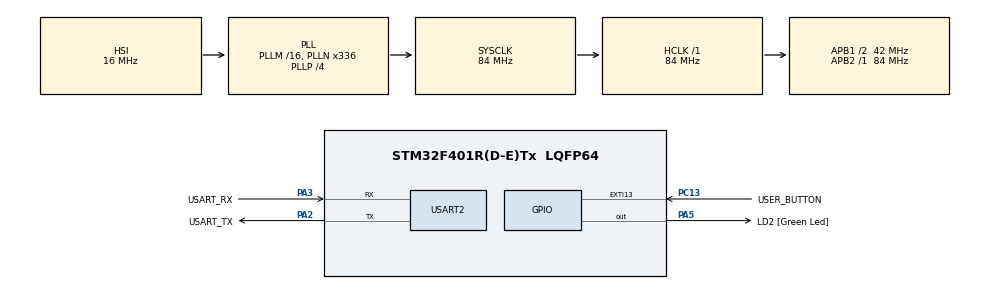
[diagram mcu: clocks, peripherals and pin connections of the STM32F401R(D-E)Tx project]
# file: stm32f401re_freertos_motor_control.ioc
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FREERTOS.Tasks01=defaultTask,0,128,StartDefaultTask,Default,NULL
Mcu.Family=STM32F4
Mcu.Name=STM32F401R(D-E)Tx
Mcu.Package=LQFP64
NVIC.EXTI15_10_IRQn=true\:5\:0\:false\:false\:true\:true\:true\:true
NVIC.PriorityGroup=NVIC_PRIORITYGROUP_4
NVIC.TIM4_IRQn=true\:0\:0\:false\:false\:true\:false\:false\:true
NVIC.TimeBase=TIM4_IRQn
NVIC.TimeBaseIP=TIM4
PA13.GPIO_Label=TMS
PA13.Mode=Serial_Wire
PA13.Signal=SYS_JTMS-SWDIO
PA14.GPIO_Label=TCK
PA14.Mode=Serial_Wire
PA14.Signal=SYS_JTCK-SWCLK
PA2.GPIO_Label=USART_TX
PA2.GPIO_Mode=GPIO_MODE_AF_PP
PA2.GPIO_PuPd=GPIO_NOPULL
PA2.GPIO_Speed=GPIO_SPEED_FREQ_LOW
PA2.Mode=Asynchronous
PA2.Signal=USART2_TX
PA3.GPIO_Label=USART_RX
PA3.GPIO_Mode=GPIO_MODE_AF_PP
PA3.GPIO_PuPd=GPIO_NOPULL
PA3.GPIO_Speed=GPIO_SPEED_FREQ_LOW
PA3.Mode=Asynchronous
PA3.Signal=USART2_RX
PA5.GPIO_Label=LD2 [Green Led]
PA5.GPIO_Mode=GPIO_MODE_OUTPUT_PP
PA5.GPIO_PuPd=GPIO_NOPULL
PA5.GPIO_Speed=GPIO_SPEED_FREQ_LOW
PA5.Signal=GPIO_Output
PB3.GPIO_Label=SWO
PB3.Signal=SYS_JTDO-SWO
PC13-ANTI_TAMP.GPIO_Label=USER_BUTTON
PC13-ANTI_TAMP.GPIO_PuPd=GPIO_NOPULL
PC13-ANTI_TAMP.Signal=GPXTI13
PC14-OSC32_IN.Mode=LSE-External-Oscillator
PC14-OSC32_IN.Signal=RCC_OSC32_IN
PC15-OSC32_OUT.Mode=LSE-External-Oscillator
PC15-OSC32_OUT.Signal=RCC_OSC32_OUT
PH0\ -\ OSC_IN.Mode=HSE-External-Clock-Source
PH0\ -\ OSC_IN.Signal=RCC_OSC_IN
PH1\ -\ OSC_OUT.Mode=HSE-External-Clock-Source
PH1\ -\ OSC_OUT.Signal=RCC_OSC_OUT
ProjectManager.HeapSize=0x200
ProjectManager.StackSize=0x400
ProjectManager.TargetToolchain=TrueSTUDIO
RCC.48MHZClocksFreq_Value=48000000
RCC.AHBFreq_Value=84000000
RCC.APB1CLKDivider=RCC_HCLK_DIV2
RCC.APB1Freq_Value=42000000
RCC.APB1TimFreq_Value=84000000
RCC.APB2Freq_Value=84000000
RCC.APB2TimFreq_Value=84000000
RCC.CortexFreq_Value=84000000
RCC.HCLKFreq_Value=84000000
RCC.HSE_VALUE=8000000
RCC.HSI_VALUE=16000000
RCC.PLLN=336
RCC.PLLP=RCC_PLLP_DIV4
RCC.PLLQ=7
RCC.SYSCLKFreq_VALUE=84000000
RCC.SYSCLKSource=RCC_SYSCLKSOURCE_PLLCLK
RCC.VCOOutputFreq_Value=336000000
USART2.VirtualMode=VM_ASYNC
VP_FREERTOS_VS_CMSIS_V1.Mode=CMSIS_V1
VP_SYS_VS_tim4.Mode=TIM4
board=NUCLEO-F401RE

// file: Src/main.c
/* USER CODE BEGIN Header */
/**
  ******************************************************************************
  * @file           : main.c
  * @brief          : Main program body
  ******************************************************************************
  * @attention
  *
  * <h2><center>&copy; Copyright (c) 2019 STMicroelectronics.
  * All rights reserved.</center></h2>
  *
  * This software component is licensed by ST under Ultimate Liberty license
  * SLA0044, the "License"; You may not use this file except in compliance with
  * the License. You may obtain a copy of the License at:
  *                             www.st.com/SLA0044
  *
  ******************************************************************************
  */
/* USER CODE END Header */

#include "main.h"
#include "cmsis_os.h"

UART_HandleTypeDef huart2;
osThreadId defaultTaskHandle;
volatile short motorOn = 0;
short motorStarted = 0;
static volatile uint16_t gLastError;
static volatile bool gButtonPressed = FALSE;

deviceParams_t initDeviceParameters =
{
		 L6206_CONF_PARAM_PARALLE_BRIDGES,
		 {L6206_CONF_PARAM_FREQ_PWM1A, L6206_CONF_PARAM_FREQ_PWM2A, L6206_CONF_PARAM_FREQ_PWM1B, L6206_CONF_PARAM_FREQ_PWM2B},
		 {100,100,100,100},
		 {FORWARD,FORWARD,BACKWARD,FORWARD},
		 {INACTIVE,INACTIVE,INACTIVE,INACTIVE},
		 {FALSE,FALSE}
};

void SystemClock_Config(void);
static void MX_GPIO_Init(void);
static void MX_USART2_UART_Init(void);
void StartDefaultTask(void const * argument);
static void MyFlagInterruptHandler(void);
void ButtonHandler(void);

/* USER CODE BEGIN 0 */

void ledOnOff(void *pvParameters)
{
	TickType_t xDelay = 1000;
	char *msg_on = "led on...\n\r";
	char *msg_off = "led off...\n\r";

	for (;;) {
		HAL_GPIO_WritePin(LD2_GPIO_Port, LD2_Pin, GPIO_PIN_RESET);
		HAL_UART_Transmit(&huart2, (uint8_t*)msg_off, 12, 10);
		vTaskDelay(xDelay);
		HAL_GPIO_WritePin(LD2_GPIO_Port, LD2_Pin, GPIO_PIN_SET);
		HAL_UART_Transmit(&huart2, (uint8_t*)msg_on, 11, 10);
		vTaskDelay(xDelay);
	}
}

void motorOnOff(void *pvParameters)
{
	TickType_t loopDelay = 800;
	TickType_t commandDelay = 100;
	char *motor_on = "motor on...\n\r";
	char *motor_off = "motor off...\n\r";
	char *set_speed = "set speed...\n\r";
	char *motor_run = "motor run...\n\r";
	for (;;) {
		if (motorOn) {
			HAL_UART_Transmit(&huart2, (uint8_t*)motor_on, 13, 10);
			BSP_MotorControl_SetMaxSpeed(0, 25);
			vTaskDelay(commandDelay);
			HAL_UART_Transmit(&huart2, (uint8_t*)set_speed, 14, 10);
			BSP_MotorControl_Run(0, FORWARD);
			vTaskDelay(commandDelay);
			HAL_UART_Transmit(&huart2, (uint8_t*)motor_run, 14, 10);
		}
		else {
			HAL_UART_Transmit(&huart2, (uint8_t*)motor_off, 14, 10);
			BSP_MotorControl_SetMaxSpeed(0, 0);
			vTaskDelay(commandDelay);
			HAL_UART_Transmit(&huart2, (uint8_t*)set_speed, 14, 10);
			BSP_MotorControl_Run(0, FORWARD);
			vTaskDelay(commandDelay);
			HAL_UART_Transmit(&huart2, (uint8_t*)motor_off, 14, 10);
		}
		vTaskDelay(loopDelay);
	}
}

/* USER CODE END 0 */

int main(void)
{

  /* MCU Configuration--------------------------------------------------------*/

  /* Reset of all peripherals, Initializes the Flash interface and the Systick. */
  HAL_Init();

  /* Configure the system clock */
  SystemClock_Config();

  /* USER CODE BEGIN SysInit */
  /* Configure KEY Button */
  BSP_PB_Init(BUTTON_KEY, BUTTON_MODE_EXTI);

  /* Set Systick Interrupt to the highest priority to have HAL_Delay working*/
  /* under the user button handler */
  HAL_NVIC_SetPriority(SysTick_IRQn, 0x0, 0x0);

  //----- Init of the Motor control library
  /* Set the L6208 library to use 1 device */
  BSP_MotorControl_SetNbDevices(BSP_MOTOR_CONTROL_BOARD_ID_L6206, 1);
  /* When BSP_MotorControl_Init is called with NULL pointer,                  */
  /* the L6206 parameters are set with the predefined values from file        */
  /* l6206_target_config.h, otherwise the parameters are set using the        */
  /* initDeviceParameters structure values.                                   */
  BSP_MotorControl_Init(BSP_MOTOR_CONTROL_BOARD_ID_L6206, &initDeviceParameters);

  /* Select the configuration with paralleling of bridge input IN1A with IN2A,
  and with paralleling of bridge input IN1B with IN2B with the use of one
  bidirectional motor */
  BSP_MotorControl_SetDualFullBridgeConfig(PARALLELING_IN1A_IN2A__IN1B_IN2B__1_BIDIR_MOTOR);

  /* Attach the function MyFlagInterruptHandler (defined below) to the flag interrupt */
  BSP_MotorControl_AttachFlagInterrupt(MyFlagInterruptHandler);

  /* Attach the function Error_Handler (defined below) to the error Handler*/
  BSP_MotorControl_AttachErrorHandler(Error_Handler);

  /* Set PWM Frequency of bridge A inputs to 10000 Hz */
  BSP_MotorControl_SetBridgeInputPwmFreq(0,10000);

  /* Set PWM Frequency of bridge B inputs to 10000 Hz */
  BSP_MotorControl_SetBridgeInputPwmFreq(1,10000);

  /* USER CODE END SysInit */

  /* Initialize all configured peripherals */
  MX_GPIO_Init();
  MX_USART2_UART_Init();
  /* USER CODE BEGIN 2 */

  xTaskCreate(ledOnOff,
		  	  (const char * const)"led_control",
			  configMINIMAL_STACK_SIZE,
			  0,
			  2,
			  0);

  xTaskCreate(motorOnOff,
  		  	  (const char * const)"motor_control",
  			  configMINIMAL_STACK_SIZE,
  			  0,
  			  2,
  			  0);

  /* USER CODE END 2 */

  /* Create the thread(s) */
  /* definition and creation of defaultTask */
  osThreadDef(defaultTask, StartDefaultTask, osPriorityNormal, 0, 128);
  defaultTaskHandle = osThreadCreate(osThread(defaultTask), NULL);

  /* Start scheduler */
  osKernelStart();

  /* We should never get here as control is now taken by the scheduler */

  /* Infinite loop */
  while (1)
  {

  }
}

void SystemClock_Config(void)
{
  RCC_OscInitTypeDef RCC_OscInitStruct = {0};
  RCC_ClkInitTypeDef RCC_ClkInitStruct = {0};

  /** Configure the main internal regulator output voltage
  */
  __HAL_RCC_PWR_CLK_ENABLE();
  __HAL_PWR_VOLTAGESCALING_CONFIG(PWR_REGULATOR_VOLTAGE_SCALE2);
  /** Initializes the CPU, AHB and APB busses clocks
  */
  RCC_OscInitStruct.OscillatorType = RCC_OSCILLATORTYPE_HSI;
  RCC_OscInitStruct.HSIState = RCC_HSI_ON;
  RCC_OscInitStruct.HSICalibrationValue = RCC_HSICALIBRATION_DEFAULT;
  RCC_OscInitStruct.PLL.PLLState = RCC_PLL_ON;
  RCC_OscInitStruct.PLL.PLLSource = RCC_PLLSOURCE_HSI;
  RCC_OscInitStruct.PLL.PLLM = 16;
  RCC_OscInitStruct.PLL.PLLN = 336;
  RCC_OscInitStruct.PLL.PLLP = RCC_PLLP_DIV4;
  RCC_OscInitStruct.PLL.PLLQ = 7;
  if (HAL_RCC_OscConfig(&RCC_OscInitStruct) != HAL_OK)
  {
    Error_Handler(0);
  }
  /** Initializes the CPU, AHB and APB busses clocks
  */
  RCC_ClkInitStruct.ClockType = RCC_CLOCKTYPE_HCLK|RCC_CLOCKTYPE_SYSCLK
                              |RCC_CLOCKTYPE_PCLK1|RCC_CLOCKTYPE_PCLK2;
  RCC_ClkInitStruct.SYSCLKSource = RCC_SYSCLKSOURCE_PLLCLK;
  RCC_ClkInitStruct.AHBCLKDivider = RCC_SYSCLK_DIV1;
  RCC_ClkInitStruct.APB1CLKDivider = RCC_HCLK_DIV2;
  RCC_ClkInitStruct.APB2CLKDivider = RCC_HCLK_DIV1;

  if (HAL_RCC_ClockConfig(&RCC_ClkInitStruct, FLASH_LATENCY_2) != HAL_OK)
  {
    Error_Handler(0);
  }
}

static void MX_USART2_UART_Init(void)
{

  huart2.Instance = USART2;
  huart2.Init.BaudRate = 115200;
  huart2.Init.WordLength = UART_WORDLENGTH_8B;
  huart2.Init.StopBits = UART_STOPBITS_1;
  huart2.Init.Parity = UART_PARITY_NONE;
  huart2.Init.Mode = UART_MODE_TX_RX;
  huart2.Init.HwFlowCtl = UART_HWCONTROL_NONE;
  huart2.Init.OverSampling = UART_OVERSAMPLING_16;
  if (HAL_UART_Init(&huart2) != HAL_OK)
  {
    Error_Handler(0);
  }

}

static void MX_GPIO_Init(void)
{
  GPIO_InitTypeDef GPIO_InitStruct = {0};

  /* GPIO Ports Clock Enable */
  __HAL_RCC_GPIOC_CLK_ENABLE();
  __HAL_RCC_GPIOH_CLK_ENABLE();
  __HAL_RCC_GPIOA_CLK_ENABLE();
  __HAL_RCC_GPIOB_CLK_ENABLE();

  /*Configure GPIO pin Output Level */
  HAL_GPIO_WritePin(LD2_GPIO_Port, LD2_Pin, GPIO_PIN_RESET);

  /*Configure GPIO pin : USER_BUTTON_Pin */
  GPIO_InitStruct.Pin = USER_BUTTON_Pin;
  GPIO_InitStruct.Mode = GPIO_MODE_IT_RISING;
  GPIO_InitStruct.Pull = GPIO_NOPULL;
  HAL_GPIO_Init(USER_BUTTON_GPIO_Port, &GPIO_InitStruct);

  /*Configure GPIO pin : LD2_Pin */
  GPIO_InitStruct.Pin = LD2_Pin;
  GPIO_InitStruct.Mode = GPIO_MODE_OUTPUT_PP;
  GPIO_InitStruct.Pull = GPIO_NOPULL;
  GPIO_InitStruct.Speed = GPIO_SPEED_FREQ_LOW;
  HAL_GPIO_Init(LD2_GPIO_Port, &GPIO_InitStruct);

  /* EXTI interrupt init*/
  HAL_NVIC_SetPriority(EXTI15_10_IRQn, 5, 0);
  HAL_NVIC_EnableIRQ(EXTI15_10_IRQn);

}

void StartDefaultTask(void const * argument)
{

  for(;;)
  {
    osDelay(1);
  }
}

void HAL_TIM_PeriodElapsedCallback(TIM_HandleTypeDef *htim)
{
  if (htim->Instance == TIM4) {
    HAL_IncTick();
  }
}

//void Error_Handler(void)
//{
//}

void Error_Handler(uint16_t error)
{
  /* Backup error number */
  gLastError = error;

  /* Infinite loop */
  while(1)
  {
  }
}

/**
  * @brief  This function is the User handler for the flag interrupt
  * @param  None
  * @retval None
  */
void MyFlagInterruptHandler(void)
{
  /* Code to be customised */
  /************************/
  /* Get the state of bridge A */
  uint16_t bridgeState  = BSP_MotorControl_CmdGetStatus(0);

  if (bridgeState == 0)
  {
    if (BSP_MotorControl_GetDeviceState(0) != INACTIVE)
    {
      /* Bridge A was disabling due to overcurrent or over temperature */
      /* When  motor was running */
        Error_Handler(0XBAD0);
    }
  }
 }

/**
  * @brief  This function is executed when the Nucleo User button is pressed
  * @param  error number of the error
  * @retval None
  */
void ButtonHandler(void)
{
  gButtonPressed = TRUE;

  /* Let 300 ms before clearing the IT for key debouncing */
  HAL_Delay(300);
  __HAL_GPIO_EXTI_CLEAR_IT(KEY_BUTTON_PIN);
  HAL_NVIC_ClearPendingIRQ(KEY_BUTTON_EXTI_IRQn);
}

/************************ (C) COPYRIGHT STMicroelectronics *****END OF FILE****/
